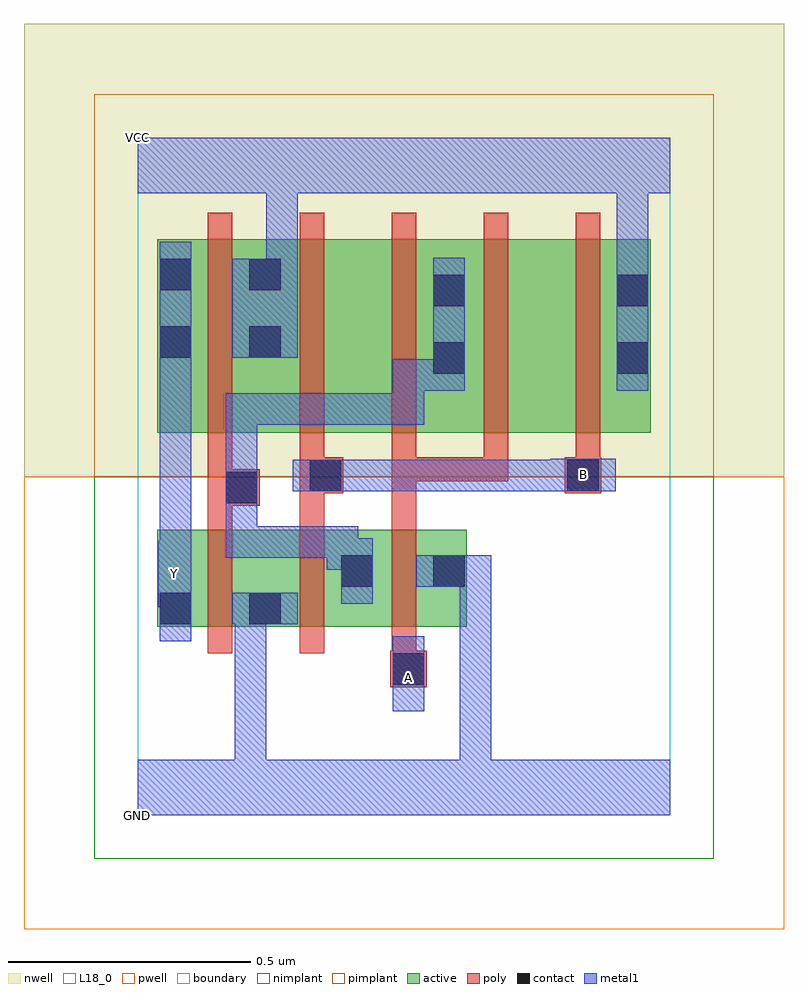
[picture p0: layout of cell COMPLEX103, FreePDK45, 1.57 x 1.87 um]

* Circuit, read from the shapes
.subckt COMPLEX103 A B GND VCC Y
M1 GND n1 Y VSUBS nfet w=0.2u l=0.05u
M2 n1 B GND VSUBS nfet w=0.2u l=0.05u
M3 GND A n1 VSUBS nfet w=0.2u l=0.05u
M4 VCC n1 Y n2 pfet w=0.4u l=0.05u
M5 n3 B VCC n2 pfet w=0.4u l=0.05u
M6 n1 A n3 n2 pfet w=0.4u l=0.05u
M7 n4 A n1 n2 pfet w=0.4u l=0.05u
M8 VCC B n4 n2 pfet w=0.4u l=0.05u
.ends

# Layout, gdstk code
import gdstk
lib = gdstk.Library(unit=1e-6, precision=1e-09)
def R(c, l, rs):  # rectangles x0, y0, x1, y1
    for r in rs: c.add(gdstk.rectangle(r[:2], r[2:], *l))
def A(c, l, x, y, w, h, nx, ny, dx, dy):  # array of equal rectangles
    R(c, l, [(x+i*dx, y+j*dy, x+i*dx+w, y+j*dy+h) for i in range(nx) for j in range(ny)])
active = (1, 0)
pwell = (2, 0)
nwell = (3, 0)
nimplant = (4, 0)
pimplant = (5, 0)
poly = (9, 0)
contact = (10, 0)
metal1 = (11, 0)
L18_0 = (18, 0)
boundary = (235, 0)

complex103 = lib.new_cell('COMPLEX103')
R(complex103, active, [(0.04,0.39,0.115,0.59), (0.04,0.39,0.3,0.59), (0.225,0.39,0.49,0.59), (0.225,0.39,0.3,0.465), (0.415,0.39,0.68,0.59), (0.415,0.39,0.49,0.542), (0.605,0.39,0.68,0.59), (0.04,0.79,0.115,1.155), (0.04,0.79,0.3,1.19), (0.225,0.79,0.455,1.19), (0.455,0.79,0.68,1.19), (0.605,0.79,0.835,1.19), (0.835,0.79,1.06,1.19), (0.985,0.79,1.06,1.155), (0.225,0.907,0.3,1.19), (0.605,0.907,0.68,1.155)])
R(complex103, pwell, [(-0.235,-0.235,1.335,0.7)])
R(complex103, nwell, [(-0.235,0.7,1.335,1.635)])
R(complex103, nimplant, [(-0.09,-0.09,1.19,0.7)])
R(complex103, pimplant, [(-0.09,0.7,1.19,1.49)])
A(complex103, poly, 0.145, 0.335, 0.05, 0.31, 3, 1, 0.19, 0)
A(complex103, poly, 0.335, 0.69, 0.05, 0.095, 4, 1, 0.19, 0)
A(complex103, poly, 0.145, 0.735, 0.05, 0.51, 5, 1, 0.19, 0)
R(complex103, poly, [(0.522,0.265,0.597,0.34), (0.525,0.29,0.575,0.385), (0.145,0.595,0.195,0.69), (0.335,0.595,0.385,0.715), (0.525,0.595,0.575,0.74), (0.145,0.64,0.252,0.715), (0.145,0.665,0.195,0.785), (0.335,0.665,0.425,0.74), (0.882,0.665,0.957,0.74), (0.525,0.69,0.575,0.74), (0.525,0.69,0.765,0.74), (0.715,0.69,0.765,0.74), (0.715,0.69,0.765,0.74), (0.715,0.69,0.765,0.74)])
R(complex103, contact, [(0.527,0.27,0.592,0.335), (0.045,0.395,0.11,0.46), (0.23,0.395,0.295,0.46), (0.42,0.472,0.485,0.537), (0.61,0.472,0.675,0.537), (0.182,0.645,0.247,0.71), (0.355,0.67,0.42,0.735), (0.887,0.67,0.952,0.735), (0.61,0.912,0.675,0.977), (0.99,0.912,1.055,0.977), (0.045,0.945,0.11,1.01), (0.23,0.945,0.295,1.01), (0.61,1.052,0.675,1.117), (0.99,1.052,1.055,1.117), (0.045,1.085,0.11,1.15), (0.23,1.085,0.295,1.15)])
R(complex103, metal1, [(0,0,1.1,0.115), (0.2,0.05,0.265,0.115), (0.2,0.05,0.265,0.115), (0.2,0.05,0.265,0.115), (0.2,0.05,0.265,0.115), (0.2,0.05,0.265,0.115), (0.2,0.05,0.265,0.115), (0.2,0.05,0.265,0.46), (0.665,0.05,0.73,0.115), (0.665,0.05,0.73,0.115), (0.665,0.05,0.73,0.115), (0.665,0.05,0.73,0.115), (0.665,0.05,0.73,0.537), (0.527,0.215,0.592,0.37), (0.045,0.36,0.11,0.495), (0.195,0.395,0.33,0.46), (0.042,0.43,0.11,0.567), (0.045,0.43,0.11,0.495), (0.42,0.437,0.485,0.572), (0.575,0.472,0.73,0.537), (0.665,0.472,0.73,0.537), (0.665,0.472,0.73,0.537), (0.045,0.502,0.11,0.975), (0.39,0.507,0.485,0.572), (0.39,0.507,0.455,0.597), (0.182,0.532,0.247,0.597), (0.182,0.532,0.455,0.597), (0.182,0.532,0.247,0.675), (0.182,0.61,0.247,0.675), (0.182,0.61,0.247,0.675), (0.182,0.61,0.247,0.745), (0.182,0.61,0.247,0.872), (0.32,0.67,0.455,0.735), (0.39,0.67,0.455,0.735), (0.39,0.67,0.455,0.735), (0.39,0.67,0.642,0.735), (0.577,0.67,0.642,0.735), (0.577,0.67,0.642,0.735), (0.577,0.67,0.642,0.735), (0.577,0.67,0.78,0.735), (0.715,0.67,0.917,0.735), (0.715,0.67,0.78,0.735), (0.715,0.67,0.78,0.735), (0.715,0.67,0.78,0.735), (0.852,0.67,0.987,0.737), (0.182,0.807,0.247,0.872), (0.182,0.807,0.455,0.872), (0.39,0.807,0.592,0.872), (0.39,0.807,0.455,0.872), (0.39,0.807,0.455,0.872), (0.39,0.807,0.455,0.872), (0.527,0.807,0.592,0.942), (0.527,0.877,0.675,0.942), (0.61,0.877,0.675,1.152), (0.99,0.877,1.055,1.152), (0.045,0.91,0.11,1.185), (0.195,0.945,0.33,1.15), (0.265,1.085,0.33,1.35), (0.99,1.087,1.055,1.35), (0,1.285,1.1,1.4)])
R(complex103, L18_0, [(0,0,1.1,0.115), (0.2,0.05,0.265,0.115), (0.2,0.05,0.265,0.115), (0.2,0.05,0.265,0.115), (0.2,0.05,0.265,0.115), (0.2,0.05,0.265,0.115), (0.2,0.05,0.265,0.115), (0.2,0.05,0.265,0.46), (0.665,0.05,0.73,0.115), (0.665,0.05,0.73,0.115), (0.665,0.05,0.73,0.115), (0.665,0.05,0.73,0.115), (0.665,0.05,0.73,0.537), (0.527,0.215,0.592,0.37), (0.527,0.252,0.592,0.317), (0.045,0.36,0.11,0.495), (0.195,0.395,0.33,0.46), (0.042,0.43,0.11,0.567), (0.045,0.43,0.11,0.495), (0.042,0.467,0.107,0.532), (0.575,0.472,0.73,0.537), (0.665,0.472,0.73,0.537), (0.665,0.472,0.73,0.537), (0.045,0.502,0.11,0.975), (0.32,0.67,0.455,0.735), (0.39,0.67,0.455,0.735), (0.39,0.67,0.455,0.735), (0.39,0.67,0.642,0.735), (0.577,0.67,0.642,0.735), (0.577,0.67,0.642,0.735), (0.577,0.67,0.642,0.735), (0.577,0.67,0.78,0.735), (0.715,0.67,0.78,0.735), (0.715,0.67,0.78,0.735), (0.715,0.67,0.78,0.735), (0.715,0.67,0.917,0.735), (0.852,0.67,0.987,0.737), (0.887,0.672,0.952,0.737), (0.99,0.877,1.055,1.152), (0.045,0.91,0.11,1.185), (0.195,0.945,0.33,1.15), (0.265,1.085,0.33,1.35), (0.99,1.087,1.055,1.35), (0,1.285,1.1,1.4)])
R(complex103, boundary, [(0,0,1.1,1.4)])
complex103.add(gdstk.Label('A', (0.56,0.285), layer=11, texttype=0))
complex103.add(gdstk.Label('B', (0.92,0.705), layer=11, texttype=0))
complex103.add(gdstk.Label('Y', (0.075,0.5), layer=11, texttype=0))
complex103.add(gdstk.Label('VCC', (0,1.4), layer=11, texttype=0))
complex103.add(gdstk.Label('GND', (0,0), layer=11, texttype=0))

lib.write_gds('COMPLEX103.gds')
